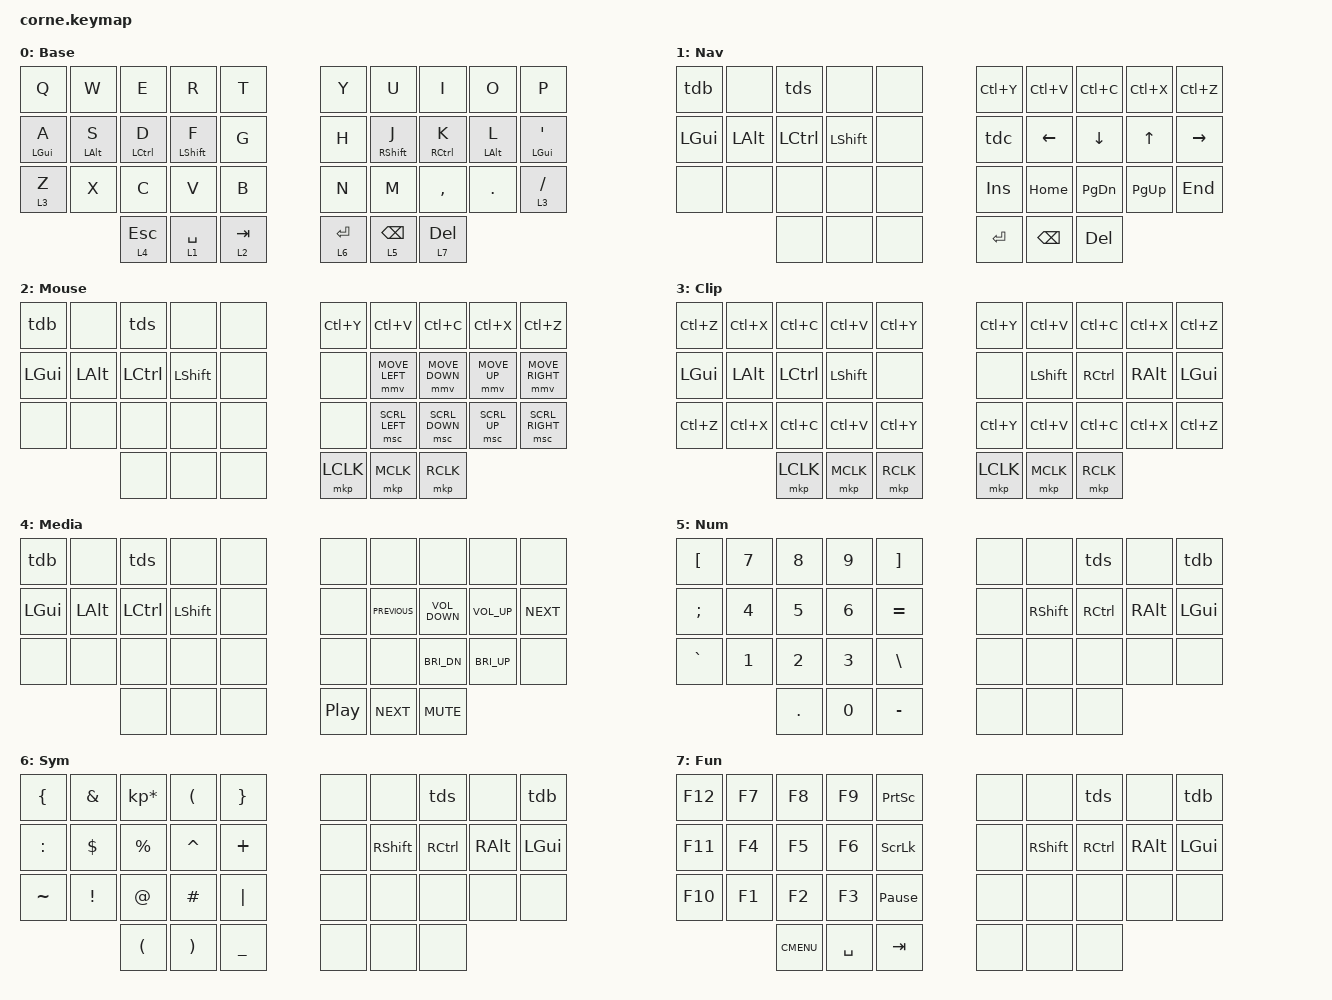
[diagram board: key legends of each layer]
/*
 * Copyright (c) 2020 The ZMK Contributors
 *
 * SPDX-License-Identifier: MIT
 */

#include <behaviors.dtsi>
#include <dt-bindings/zmk/keys.h>
#include <dt-bindings/zmk/pointing.h>

&soft_off {
    hold-time-ms = <1000>; // Only turn off it the key is held for 1 seconds or longer.
};

/ {
    chosen {
        zmk,physical-layout = &foostan_corne_5col_layout;
    };

    behaviors {
        skl: sticky_key_lazy {
            compatible = "zmk,behavior-sticky-key";
            #binding-cells = <1>;
            bindings = <&kp>;
            release-after-ms = <1000>;
            ignore-modifiers;
            lazy;
        };
        hmg: home_row_mod_gui {
            compatible = "zmk,behavior-hold-tap";
            #binding-cells = <2>;
            flavor = "balanced";
            require-prior-idle-ms = <150>;
            tapping-term-ms = <280>;
            quick-tap-ms = <175>;
            bindings = <&skl>, <&kp>;
        };
        hms: home_row_mod_shift {
            compatible = "zmk,behavior-hold-tap";
            #binding-cells = <2>;
            flavor = "balanced";
            tapping-term-ms = <280>;
            quick-tap-ms = <175>;
            bindings = <&kp>, <&kp>;
        };
        hm: home_row_mod {
            compatible = "zmk,behavior-hold-tap";
            #binding-cells = <2>;
            flavor = "balanced";
            require-prior-idle-ms = <150>;
            tapping-term-ms = <280>;
            quick-tap-ms = <175>;
            bindings = <&kp>, <&kp>;
        };
        tdc: tap_dance_caps {
            compatible = "zmk,behavior-tap-dance";
            #binding-cells = <0>;
            tapping-term-ms = <200>;
            bindings = <&caps_word>, <&kp CAPS>;
        };
        tds: tap_dance_soft_off {
            compatible = "zmk,behavior-tap-dance";
            #binding-cells = <0>;
            tapping-term-ms = <200>;
            bindings = <&none>, <&soft_off>;
        };
        tdb: tap_dance_bootloader {
            compatible = "zmk,behavior-tap-dance";
            #binding-cells = <0>;
            tapping-term-ms = <200>;
            bindings = <&none>, <&bootloader>;
        };
        
    };

    keymap {
        compatible = "zmk,keymap";

        base_layer {
            // -----------------------------------------------------------------------------------------
            // |  Q  |  W  |  E  |  R  |  T  |   |  Y  |  U   |  I  |  O  |  P  |
            // |  A  |  S  |  D  |  F  |  G  |   |  H  |  J   |  K  |  L  |  '  |
            // |  Z  |  X  |  C  |  V  |  B  |   |  N  |  M   |  ,  |  .  |  /  |
            //             | ESC | SPC | TAB |   | ENT | BKSP | DEL |

            bindings = <
                &kp Q        &kp W            &kp E         &kp R              &kp T        &kp Y        &kp U               &kp I         &kp O        &kp P
                &hmg LGUI A  &hm LEFT_ALT S   &hm LCTRL D   &hms LEFT_SHIFT F  &kp G        &kp H        &hms RIGHT_SHIFT J  &hm RCTRL K   &hm LALT L   &hmg LGUI APOS
                &lt 3 Z      &kp X            &kp C         &kp V              &kp B        &kp N        &kp M               &kp COMMA     &kp DOT      &lt 3 SLASH
                                              &lt 4 ESC     &lt 1 SPACE        &lt 2 TAB    &lt 6 ENTER  &lt 5 BACKSPACE     &lt 7 DELETE
            >;

            label = "Base";
        };

        nav_layer {
            bindings = <
                &tdb      &none         &tds       &none           &none        &kp LC(Y)     &kp LC(V)      &kp LC(C)      &kp LC(X)    &kp LC(Z)
                &kp LGUI  &kp LEFT_ALT  &kp LCTRL  &kp LEFT_SHIFT  &none        &tdc          &kp LEFT       &kp DOWN       &kp UP       &kp RIGHT
                &none     &none         &none      &none           &none        &kp INSERT    &kp HOME       &kp PAGE_DOWN  &kp PAGE_UP  &kp END
                                        &none      &none           &none        &kp ENTER     &kp BACKSPACE  &kp DELETE
            >;

            label = "Nav";
        };

        mouse_layer {
            bindings = <
                &tdb      &none         &tds       &none           &none        &kp LC(Y)   &kp LC(V)       &kp LC(C)       &kp LC(X)     &kp LC(Z)
                &kp LGUI  &kp LEFT_ALT  &kp LCTRL  &kp LEFT_SHIFT  &none        &none       &mmv MOVE_LEFT  &mmv MOVE_DOWN  &mmv MOVE_UP  &mmv MOVE_RIGHT
                &none     &none         &none      &none           &none        &none       &msc SCRL_LEFT  &msc SCRL_DOWN  &msc SCRL_UP  &msc SCRL_RIGHT
                                        &none      &none           &none        &mkp LCLK   &mkp MCLK       &mkp RCLK
            >;

            label = "Mouse";
        };

        button_layer {
            bindings = <
                &kp LC(Z)  &kp LC(X)  &kp LC(C)  &kp LC(V)  &kp LC(Y)       &kp LC(Y)  &kp LC(V)  &kp LC(C)          &kp LC(X)     &kp LC(Z)
                &kp LGUI   &kp LALT   &kp LCTRL  &kp LSHFT  &none           &none      &kp LSHFT  &kp RIGHT_CONTROL  &kp RALT      &kp LGUI     
                &kp LC(Z)  &kp LC(X)  &kp LC(C)  &kp LC(V)  &kp LC(Y)       &kp LC(Y)  &kp LC(V)  &kp LC(C)          &kp LC(X)     &kp LC(Z)
                                      &mkp LCLK  &mkp MCLK  &mkp RCLK       &mkp LCLK  &mkp MCLK  &mkp RCLK
            >;

            label = "Clip";
        };

        media_layer {
            // -----------------------------------------------------------------------------------------
            // |  TAB |  !  |  @  |  #  |  $  |  %  |   |  ^  |  &  |  *  |  (  |  )  | BKSP |
            // | CTRL |     |     |     |     |     |   |  -  |  =  |  [  |  ]  |  \  |  `   |
            // | SHFT |     |     |     |     |     |   |  _  |  +  |  {  |  }  | "|" |  ~   |
            //                    | GUI |     | SPC |   | ENT |     | ALT |

            bindings = <
                &tdb      &none         &tds       &none           &none        &none              &none           &none              &none            &none       
                &kp LGUI  &kp LEFT_ALT  &kp LCTRL  &kp LEFT_SHIFT  &none        &none              &kp C_PREVIOUS  &kp C_VOLUME_DOWN  &kp C_VOLUME_UP  &kp C_NEXT  
                &none     &none         &none      &none           &none        &none              &none           &kp C_BRI_DN       &kp C_BRI_UP     &none
                                        &none      &none           &none        &kp C_PLAY_PAUSE   &kp C_NEXT      &kp C_MUTE
            >;

            label = "Media";
        };

        num_layer {
            bindings = <
                &kp LBKT   &kp N7  &kp N8   &kp N9  &kp RIGHT_BRACKET       &none  &none            &tds       &none          &tdb   
                &kp SEMI   &kp N4  &kp N5   &kp N6  &kp EQUAL               &none  &kp RIGHT_SHIFT  &kp RCTRL  &kp RIGHT_ALT  &kp LGUI
                &kp GRAVE  &kp N1  &kp N2   &kp N3  &kp BACKSLASH           &none  &none            &none      &none          &none   
                                   &kp DOT  &kp N0  &kp MINUS               &none  &none            &none
            >;

            label = "Num";
        };

        sym_layer {
            bindings = <
                &kp LEFT_BRACE  &kp AMPERSAND    &kp KP_MULTIPLY       &kp LEFT_PARENTHESIS   &kp RIGHT_BRACE       &none  &none            &tds       &none          &tdb   
                &kp COLON       &kp DOLLAR       &kp PERCENT           &kp CARET              &kp PLUS              &none  &kp RIGHT_SHIFT  &kp RCTRL  &kp RIGHT_ALT  &kp LGUI
                &kp TILDE       &kp EXCLAMATION  &kp AT_SIGN           &kp HASH               &kp PIPE              &none  &none            &none      &none          &none   
                                                 &kp LEFT_PARENTHESIS  &kp RIGHT_PARENTHESIS  &kp UNDERSCORE        &none  &none            &none
            >;

            label = "Sym";
        };

        fun_layer {
            bindings = <
                &kp F12  &kp F7  &kp F8       &kp F9     &kp PRINTSCREEN         &none  &none            &tds       &none          &tdb   
                &kp F11  &kp F4  &kp F5       &kp F6     &kp SCROLLLOCK          &none  &kp RIGHT_SHIFT  &kp RCTRL  &kp RIGHT_ALT  &kp LGUI
                &kp F10  &kp F1  &kp F2       &kp F3     &kp PAUSE_BREAK         &none  &none            &none      &none          &none   
                                 &kp K_CMENU  &kp SPACE  &kp TAB                 &none  &none            &none
            >;

            label = "Fun";
        };
    };
};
